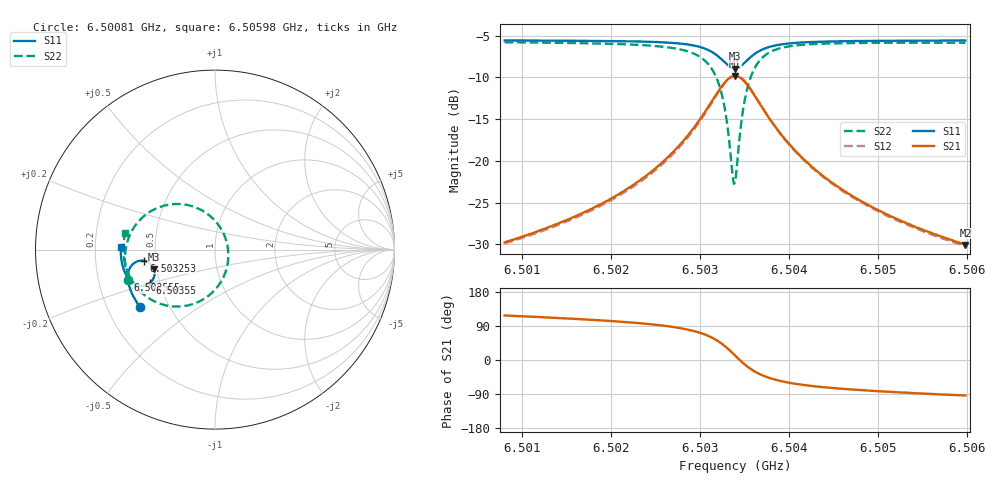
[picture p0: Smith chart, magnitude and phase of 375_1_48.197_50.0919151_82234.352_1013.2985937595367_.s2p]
#  HZ  S  RI  R  50.00
! Rohde & Schwarz Vector Network Analyzer
! Rohde-Schwarz,ZNB20-2Port,1311601062101988,3.16
! Created: UTC 3/20/2024, 11:52:51 AM
! freq[Hz]  re:S11  im:S11  re:S21  im:S21  re:S12  im:S12  re:S22  im:S22
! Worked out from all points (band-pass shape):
!   401 points, 6.50081 GHz to 6.50598 GHz, reference 50 ohm
!   highest |S21| = -9.83 dB at 6.503395 GHz (marker M1); lowest = -30.1 dB at 6.50598 GHz (marker M2)
!   |S21| within 3 dB of the highest: 6.503137 GHz to 6.503653 GHz (516.2 kHz wide, 0.00794 % of centre)
!   lowest |S11| = -9.0 dB at 6.503395 GHz (marker M3), VSWR 2.11, Z = 24.2 - j6.08 ohm
!   |S11| at or under -10 dB: nowhere
!   |S22| runs from -22.8 to -5.8 dB; largest |S21 - S12| = 0.011
!   S11 on the Smith chart (normalised r, x): 6.50081 GHz: 0.34, -0.30; 6.502555 GHz: 0.33, -0.15; 6.503253 GHz: 0.43, -0.06; 6.50355 GHz: 0.44, -0.20; 6.50598 GHz: 0.31, +0.01
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6.5008097e9  -0.4198 -0.3178  -0.015 0.0288  -0.0133 0.029  -0.4857 -0.1669
6.5016758e9  -0.458 -0.255  -0.0146 0.0462  -0.0121 0.0458  -0.5011 -0.077
6.5021412e9  -0.4749 -0.2146  -0.0118 0.0645  -0.00911 0.0635  -0.4995 -0.0131
6.5025419e9  -0.4851 -0.1716  -0.00329 0.094  0.000326 0.0918  -0.4815 0.0639
6.5025549e9  -0.4853 -0.17  -0.0028 0.0953  0.000818 0.093  -0.4803 0.067
6.5028005e9  -0.4848 -0.1348  0.0151 0.1282  0.0189 0.1244  -0.4426 0.1362
6.5029815e9  -0.4737 -0.1016  0.0493 0.164  0.0526 0.1587  -0.3756 0.2021
6.5031495e9  -0.4396 -0.0684  0.1258 0.1973  0.127 0.1909  -0.235 0.253
6.5032529e9  -0.3975 -0.0613  0.21 0.1889  0.2103 0.1835  -0.0885 0.2264
6.5033046e9  -0.3722 -0.0697  0.2579 0.1616  0.2587 0.157  -0.00893 0.1704
6.5033693e9  -0.3457 -0.0956  0.3053 0.0992  0.3076 0.0941  0.0625 0.0505
6.5033951e9  -0.3395 -0.1099  0.3154 0.0675  0.3185 0.0618  0.0736 -0.00859
6.503408e9  -0.3375 -0.1175  0.3183 0.0509  0.3214 0.0447  0.0743 -0.0387
6.5034856e9  -0.3434 -0.1617  0.3018 -0.0423  0.3037 -0.052  0.0182 -0.2018
6.5035502e9  -0.3641 -0.1871  0.2599 -0.0957  0.2588 -0.1066  -0.0763 -0.2834
6.5036536e9  -0.403 -0.202  0.1867 -0.1314  0.1814 -0.1406  -0.2234 -0.3171
6.5038217e9  -0.4484 -0.1922  0.1065 -0.1288  0.0998 -0.1337  -0.3677 -0.2717
6.5040027e9  -0.4755 -0.1709  0.0629 -0.1094  0.0568 -0.1114  -0.4386 -0.208
6.5042612e9  -0.4962 -0.1406  0.0334 -0.0856  0.0289 -0.0861  -0.4815 -0.1368
6.5046361e9  -0.5113 -0.1022  0.0149 -0.0635  0.0119 -0.0633  -0.5033 -0.0645
6.5051273e9  -0.521 -0.0572  0.00503 -0.0468  0.00283 -0.0461  -0.5097 0.00325
6.5059805e9  -0.5259 0.0144  -0.00191 -0.0313  -0.00343 -0.0307  -0.5015 0.0919
